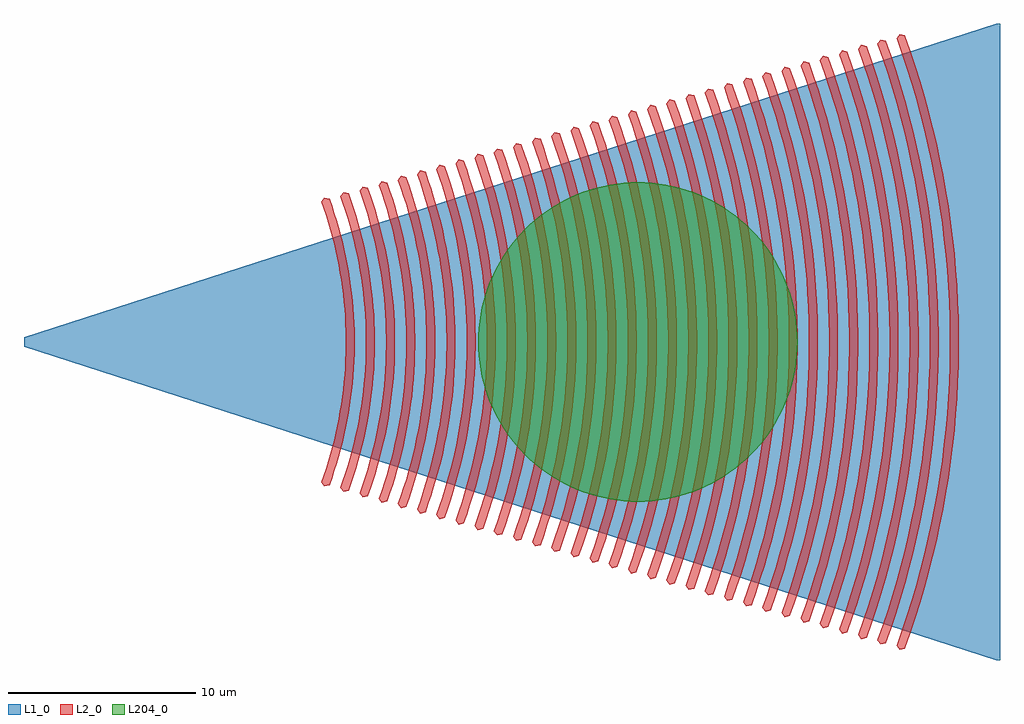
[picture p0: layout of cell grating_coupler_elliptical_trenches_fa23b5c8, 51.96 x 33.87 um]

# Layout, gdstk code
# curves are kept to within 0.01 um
import gdstk
lib = gdstk.Library(unit=1e-6, precision=1e-09)
def P(c, l, *ps):  # polygons
    for p in ps: c.add(gdstk.Polygon(p, *l))
L1_0 = (1, 0)
L2_0 = (2, 0)
L204_0 = (204, 0)

grating_coupler_elliptic = lib.new_cell('grating_coupler_elliptical_trenches_fa23b5c8')
P(grating_coupler_elliptic, L1_0, [(0,-0.25),(0,0.25),(51.76,16.933),(51.96,16.933),(51.96,-16.933),(51.76,-16.933)])
P(grating_coupler_elliptic, L2_0, [(15.995,-7.69),(15.825,-7.464),(16.195,-6.349),(16.505,-5.218),(16.754,-4.074),(16.885,-3.304),(16.989,-2.53),(17.066,-1.754),(17.114,-0.975),(17.135,-0.195),(17.128,0.585),(17.093,1.365),(17.031,2.142),(16.941,2.918),(16.754,4.074),(16.505,5.218),(16.195,6.349),(15.825,7.464),(15.995,7.69),(16.27,7.62),(16.528,6.867),(16.759,6.102),(16.963,5.331),(17.14,4.553),(17.352,3.375),(17.501,2.189),(17.586,0.996),(17.607,0.199),(17.586,-0.996),(17.501,-2.189),(17.352,-3.375),(17.14,-4.553),(16.963,-5.331),(16.759,-6.102),(16.528,-6.867),(16.27,-7.62)],
  [(17.017,-7.981),(16.846,-7.754),(17.11,-6.983),(17.452,-5.814),(17.732,-4.63),(17.947,-3.432),(18.055,-2.629),(18.135,-1.822),(18.185,-1.013),(18.207,-0.203),(18.2,0.608),(18.164,1.418),(18.099,2.226),(17.947,3.432),(17.732,4.63),(17.452,5.814),(17.11,6.983),(16.846,7.754),(17.017,7.981),(17.291,7.91),(17.559,7.128),(17.799,6.335),(18.011,5.534),(18.194,4.726),(18.414,3.504),(18.524,2.683),(18.635,1.447),(18.679,0.207),(18.657,-1.034),(18.568,-2.272),(18.414,-3.504),(18.194,-4.726),(18.011,-5.534),(17.799,-6.335),(17.559,-7.128),(17.291,-7.91)],
  [(18.038,-8.271),(17.867,-8.044),(18.141,-7.244),(18.496,-6.032),(18.786,-4.803),(19.01,-3.561),(19.122,-2.727),(19.204,-1.89),(19.257,-1.051),(19.279,-0.21),(19.272,0.631),(19.234,1.471),(19.167,2.309),(19.01,3.561),(18.786,4.803),(18.496,6.032),(18.141,7.244),(17.867,8.044),(18.038,8.271),(18.312,8.201),(18.59,7.389),(18.839,6.567),(19.058,5.736),(19.248,4.899),(19.408,4.056),(19.591,2.782),(19.705,1.5),(19.751,0.214),(19.728,-1.072),(19.636,-2.355),(19.476,-3.632),(19.248,-4.899),(19.058,-5.736),(18.839,-6.567),(18.59,-7.389),(18.312,-8.201)],
  [(19.059,-8.561),(18.888,-8.334),(19.302,-7.089),(19.54,-6.25),(19.84,-4.976),(20.072,-3.689),(20.188,-2.826),(20.273,-1.958),(20.328,-1.089),(20.351,-0.218),(20.343,0.653),(20.304,1.524),(20.235,2.392),(20.072,3.689),(19.84,4.976),(19.54,6.25),(19.302,7.089),(18.888,8.334),(19.059,8.561),(19.334,8.491),(19.621,7.65),(19.878,6.799),(20.106,5.939),(20.302,5.072),(20.538,3.761),(20.657,2.88),(20.776,1.553),(20.823,0.222),(20.799,-1.11),(20.704,-2.439),(20.538,-3.761),(20.302,-5.072),(20.106,-5.939),(19.878,-6.799),(19.621,-7.65),(19.334,-8.491)],
  [(20.08,-8.851),(19.909,-8.624),(20.337,-7.336),(20.695,-6.03),(20.982,-4.707),(21.134,-3.818),(21.254,-2.924),(21.343,-2.027),(21.399,-1.127),(21.423,-0.225),(21.399,1.127),(21.343,2.027),(21.254,2.924),(21.134,3.818),(20.982,4.707),(20.695,6.03),(20.337,7.336),(19.909,8.624),(20.08,8.851),(20.355,8.781),(20.652,7.912),(20.918,7.031),(21.153,6.142),(21.356,5.246),(21.601,3.889),(21.723,2.979),(21.846,1.606),(21.895,0.23),(21.87,-1.148),(21.772,-2.522),(21.601,-3.889),(21.356,-5.246),(21.153,-6.142),(20.918,-7.031),(20.652,-7.912),(20.355,-8.781)],
  [(21.101,-9.141),(20.93,-8.914),(21.373,-7.583),(21.627,-6.685),(21.948,-5.323),(22.196,-3.946),(22.321,-3.022),(22.412,-2.095),(22.47,-1.165),(22.495,-0.233),(22.487,0.699),(22.412,2.095),(22.321,3.022),(22.196,3.946),(21.948,5.323),(21.627,6.685),(21.373,7.583),(20.93,8.914),(21.101,9.141),(21.376,9.071),(21.683,8.173),(21.958,7.263),(22.201,6.345),(22.41,5.419),(22.663,4.017),(22.84,2.605),(22.942,1.186),(22.967,0.237),(22.942,-1.186),(22.84,-2.605),(22.663,-4.017),(22.503,-4.953),(22.31,-5.883),(22.083,-6.805),(21.824,-7.719),(21.533,-8.624),(21.376,-9.071)],
  [(22.122,-9.431),(21.951,-9.204),(22.408,-7.83),(22.671,-6.902),(23.002,-5.496),(23.259,-4.075),(23.387,-3.121),(23.481,-2.163),(23.541,-1.202),(23.567,-0.241),(23.541,1.202),(23.481,2.163),(23.387,3.121),(23.259,4.075),(23.002,5.496),(22.671,6.902),(22.408,7.83),(21.951,9.204),(22.122,9.431),(22.397,9.361),(22.559,8.9),(22.998,7.496),(23.248,6.548),(23.465,5.592),(23.647,4.629),(23.856,3.175),(23.987,1.712),(24.039,0.245),(24.013,-1.223),(23.908,-2.688),(23.725,-4.146),(23.465,-5.592),(23.248,-6.548),(22.998,-7.496),(22.559,-8.9),(22.397,-9.361)],
  [(23.143,-9.721),(22.973,-9.494),(23.443,-8.076),(23.837,-6.638),(24.057,-5.669),(24.321,-4.203),(24.453,-3.219),(24.55,-2.231),(24.612,-1.24),(24.639,-0.248),(24.63,0.744),(24.586,1.736),(24.453,3.219),(24.321,4.203),(24.057,5.669),(23.837,6.638),(23.443,8.076),(22.973,9.494),(23.143,9.721),(23.418,9.651),(23.585,9.176),(23.895,8.213),(24.171,7.24),(24.519,5.765),(24.787,4.274),(24.976,2.772),(25.057,1.765),(25.111,0.252),(25.102,-0.757),(25.021,-2.269),(24.859,-3.775),(24.617,-5.27),(24.296,-6.751),(24.037,-7.728),(23.744,-8.696),(23.418,-9.651)],
  [(24.164,-10.011),(23.994,-9.784),(24.479,-8.323),(24.885,-6.841),(25.211,-5.34),(25.383,-4.332),(25.519,-3.317),(25.62,-2.299),(25.683,-1.278),(25.711,-0.256),(25.702,0.767),(25.62,2.299),(25.519,3.317),(25.383,4.332),(25.211,5.34),(24.885,6.841),(24.479,8.323),(23.994,9.784),(24.164,10.011),(24.439,9.941),(24.611,9.451),(25.077,7.96),(25.343,6.954),(25.573,5.939),(25.85,4.403),(26.044,2.855),(26.155,1.299),(26.183,0.26),(26.155,-1.299),(26.044,-2.855),(25.85,-4.403),(25.674,-5.428),(25.343,-6.954),(25.077,-7.96),(24.775,-8.957),(24.439,-9.941)],
  [(25.185,-10.301),(25.015,-10.074),(25.357,-9.074),(25.802,-7.555),(26.165,-6.016),(26.445,-4.46),(26.586,-3.416),(26.689,-2.367),(26.755,-1.316),(26.783,-0.263),(26.755,1.316),(26.689,2.367),(26.586,3.416),(26.445,4.46),(26.165,6.016),(25.802,7.555),(25.357,9.074),(25.015,10.074),(25.185,10.301),(25.46,10.231),(25.637,9.727),(26.117,8.192),(26.39,7.156),(26.627,6.112),(26.912,4.531),(27.055,3.47),(27.198,1.872),(27.255,0.268),(27.226,-1.337),(27.198,-1.872),(27.112,-2.938),(26.912,-4.531),(26.731,-5.587),(26.513,-6.635),(26.258,-7.676),(25.806,-9.218),(25.46,-10.231)],
  [(26.206,-10.591),(26.036,-10.364),(26.55,-8.817),(26.846,-7.773),(27.219,-6.189),(27.508,-4.588),(27.652,-3.514),(27.758,-2.436),(27.826,-1.354),(27.855,-0.271),(27.845,0.813),(27.797,1.895),(27.71,2.975),(27.508,4.588),(27.219,6.189),(26.846,7.773),(26.55,8.817),(26.036,10.364),(26.206,10.591),(26.481,10.521),(26.663,10.003),(27.001,8.954),(27.302,7.893),(27.681,6.285),(27.789,5.745),(27.974,4.66),(28.18,3.022),(28.268,1.925),(28.327,0.275),(28.297,-1.375),(28.268,-1.925),(28.18,-3.022),(27.974,-4.66),(27.789,-5.745),(27.564,-6.823),(27.302,-7.893),(26.837,-9.48),(26.481,-10.521)],
  [(27.227,-10.881),(27.057,-10.655),(27.419,-9.596),(27.585,-9.064),(28.027,-7.45),(28.382,-5.816),(28.57,-4.717),(28.718,-3.613),(28.827,-2.504),(28.897,-1.392),(28.927,-0.278),(28.917,0.835),(28.867,1.948),(28.778,3.059),(28.57,4.717),(28.382,5.816),(28.027,7.45),(27.585,9.064),(27.419,9.596),(27.057,10.655),(27.227,10.881),(27.502,10.811),(27.689,10.279),(28.037,9.2),(28.346,8.111),(28.735,6.458),(28.846,5.903),(29.036,4.788),(29.117,4.228),(29.248,3.105),(29.369,1.413),(29.399,0.283),(29.399,-0.283),(29.369,-1.413),(29.248,-3.105),(29.117,-4.228),(28.846,-5.903),(28.615,-7.011),(28.346,-8.111),(27.868,-9.741),(27.502,-10.811)],
  [(28.248,-11.171),(28.078,-10.945),(28.45,-9.858),(28.621,-9.31),(28.933,-8.208),(29.328,-6.535),(29.541,-5.41),(29.632,-4.845),(29.785,-3.711),(29.897,-2.572),(29.968,-1.43),(29.999,-0.286),(29.989,0.858),(29.938,2.001),(29.897,2.572),(29.785,3.711),(29.632,4.845),(29.541,5.41),(29.328,6.535),(28.933,8.208),(28.782,8.76),(28.45,9.858),(28.078,10.945),(28.248,11.171),(28.523,11.101),(28.716,10.554),(28.899,10.002),(29.236,8.889),(29.533,7.765),(29.79,6.632),(29.903,6.062),(30.099,4.917),(30.254,3.765),(30.316,3.188),(30.409,2.031),(30.44,1.451),(30.471,0.29),(30.471,-0.29),(30.44,-1.451),(30.409,-2.031),(30.316,-3.188),(30.254,-3.765),(30.099,-4.917),(29.903,-6.062),(29.79,-6.632),(29.533,-7.765),(29.236,-8.889),(28.899,-10.002),(28.523,-11.101)],
  [(29.269,-11.461),(29.099,-11.235),(29.295,-10.677),(29.656,-9.557),(29.977,-8.425),(30.122,-7.855),(30.382,-6.709),(30.6,-5.554),(30.694,-4.974),(30.851,-3.809),(30.966,-2.64),(31.039,-1.468),(31.071,-0.294),(31.06,0.881),(31.008,2.054),(30.914,3.225),(30.778,4.392),(30.694,4.974),(30.6,5.554),(30.382,6.709),(30.257,7.283),(29.977,8.425),(29.656,9.557),(29.295,10.677),(29.099,11.235),(29.269,11.461),(29.544,11.391),(29.742,10.83),(29.93,10.264),(30.276,9.121),(30.58,7.968),(30.844,6.805),(31.066,5.633),(31.246,4.455),(31.32,3.864),(31.436,2.678),(31.479,2.084),(31.511,1.489),(31.543,0.298),(31.543,-0.298),(31.511,-1.489),(31.479,-2.084),(31.383,-3.271),(31.246,-4.455),(31.066,-5.633),(30.96,-6.22),(30.717,-7.387),(30.433,-8.546),(30.276,-9.121),(29.93,-10.264),(29.544,-11.391)],
  [(30.29,-11.752),(30.12,-11.525),(30.321,-10.953),(30.691,-9.804),(31.02,-8.643),(31.308,-7.471),(31.436,-6.882),(31.553,-6.291),(31.757,-5.102),(31.917,-3.908),(32.035,-2.708),(32.11,-1.506),(32.143,-0.301),(32.132,0.904),(32.078,2.107),(31.982,3.308),(31.917,3.908),(31.757,5.102),(31.553,6.291),(31.436,6.882),(31.308,7.471),(31.02,8.643),(30.691,9.804),(30.321,10.953),(30.12,11.525),(30.29,11.752),(30.565,11.681),(30.768,11.106),(31.143,9.941),(31.477,8.764),(31.628,8.171),(31.898,6.978),(32.017,6.378),(32.223,5.173),(32.386,3.962),(32.506,2.746),(32.549,2.137),(32.582,1.527),(32.615,0.305),(32.604,-0.916),(32.582,-1.527),(32.506,-2.746),(32.386,-3.962),(32.31,-4.569),(32.223,-5.173),(32.017,-6.378),(31.768,-7.576),(31.477,-8.764),(31.315,-9.354),(30.961,-10.525),(30.565,-11.681)],
  [(31.311,-12.042),(31.141,-11.815),(31.347,-11.229),(31.727,-10.051),(31.901,-9.457),(32.217,-8.261),(32.49,-7.055),(32.72,-5.841),(32.819,-5.231),(32.984,-4.006),(33.105,-2.776),(33.182,-1.544),(33.215,-0.309),(33.215,0.309),(33.182,1.544),(33.105,2.776),(32.984,4.006),(32.819,5.231),(32.72,5.841),(32.49,7.055),(32.217,8.261),(31.901,9.457),(31.727,10.051),(31.347,11.229),(31.141,11.815),(31.311,12.042),(31.586,11.972),(31.794,11.382),(32.179,10.188),(32.355,9.586),(32.675,8.374),(32.952,7.151),(33.074,6.537),(33.285,5.302),(33.452,4.061),(33.519,3.438),(33.62,2.19),(33.653,1.565),(33.687,0.313),(33.687,-0.313),(33.653,-1.565),(33.575,-2.814),(33.452,-4.061),(33.374,-4.682),(33.285,-5.302),(33.074,-6.537),(32.819,-7.764),(32.675,-8.374),(32.355,-9.586),(31.992,-10.786),(31.586,-11.972)],
  [(32.333,-12.332),(32.162,-12.105),(32.573,-10.903),(32.762,-10.298),(33.108,-9.078),(33.41,-7.847),(33.668,-6.607),(33.78,-5.984),(33.881,-5.359),(34.05,-4.104),(34.174,-2.845),(34.253,-1.582),(34.287,-0.316),(34.287,0.316),(34.253,1.582),(34.174,2.845),(34.05,4.104),(33.881,5.359),(33.668,6.607),(33.544,7.228),(33.41,7.847),(33.108,9.078),(32.762,10.298),(32.573,10.903),(32.162,12.105),(32.333,12.332),(32.607,12.262),(32.82,11.657),(33.214,10.434),(33.395,9.818),(33.723,8.577),(34.006,7.325),(34.245,6.064),(34.348,5.43),(34.519,4.159),(34.644,2.883),(34.69,2.243),(34.724,1.603),(34.759,0.321),(34.759,-0.321),(34.724,-1.603),(34.69,-2.243),(34.587,-3.521),(34.519,-4.159),(34.348,-5.43),(34.131,-6.695),(34.006,-7.325),(33.723,-8.577),(33.395,-9.818),(33.022,-11.048),(32.607,-12.262)],
  [(33.354,-12.622),(33.183,-12.395),(33.604,-11.164),(33.798,-10.544),(34.152,-9.296),(34.461,-8.036),(34.725,-6.766),(34.84,-6.128),(34.943,-5.488),(35.116,-4.203),(35.243,-2.913),(35.324,-1.619),(35.359,-0.324),(35.359,0.324),(35.324,1.619),(35.243,2.913),(35.116,4.203),(34.943,5.488),(34.84,6.128),(34.598,7.402),(34.461,8.036),(34.152,9.296),(33.798,10.544),(33.604,11.164),(33.183,12.395),(33.354,12.622),(33.628,12.552),(33.846,11.933),(34.249,10.681),(34.608,9.416),(34.921,8.14),(35.061,7.498),(35.305,6.207),(35.41,5.559),(35.585,4.257),(35.714,2.951),(35.76,2.296),(35.819,0.984),(35.831,0.328),(35.819,-0.984),(35.76,-2.296),(35.714,-2.951),(35.585,-4.257),(35.503,-4.909),(35.41,-5.559),(35.188,-6.854),(34.921,-8.14),(34.608,-9.416),(34.434,-10.05),(34.053,-11.309),(33.628,-12.552)],
  [(34.375,-12.912),(34.204,-12.685),(34.635,-11.425),(35.02,-10.154),(35.195,-9.513),(35.512,-8.224),(35.653,-7.575),(35.9,-6.271),(36.1,-4.959),(36.253,-3.642),(36.36,-2.32),(36.419,-0.995),(36.431,-0.332),(36.419,0.995),(36.36,2.32),(36.253,3.642),(36.1,4.959),(36.006,5.616),(35.9,6.271),(35.653,7.575),(35.359,8.87),(35.02,10.154),(34.833,10.791),(34.426,12.056),(34.204,12.685),(34.375,12.912),(34.65,12.842),(34.872,12.209),(35.285,10.928),(35.652,9.634),(35.818,8.982),(36.115,7.671),(36.365,6.351),(36.472,5.687),(36.568,5.022),(36.723,3.688),(36.831,2.349),(36.867,1.678),(36.903,0.336),(36.891,-1.007),(36.831,-2.349),(36.783,-3.019),(36.723,-3.688),(36.568,-5.022),(36.365,-6.351),(36.246,-7.012),(35.972,-8.328),(35.652,-9.634),(35.285,-10.928),(35.084,-11.57),(34.65,-12.842)],
  [(35.396,-13.202),(35.225,-12.975),(35.452,-12.332),(35.869,-11.038),(36.239,-9.731),(36.563,-8.412),(36.707,-7.748),(36.959,-6.414),(37.068,-5.744),(37.249,-4.4),(37.382,-3.049),(37.466,-1.695),(37.502,-0.339),(37.502,0.339),(37.466,1.695),(37.382,3.049),(37.249,4.4),(37.068,5.744),(36.839,7.082),(36.707,7.748),(36.407,9.073),(36.06,10.386),(35.869,11.038),(35.452,12.332),(35.225,12.975),(35.396,13.202),(35.671,13.132),(36.115,11.831),(36.514,10.515),(36.695,9.851),(36.865,9.185),(37.169,7.844),(37.425,6.494),(37.632,5.136),(37.718,4.454),(37.791,3.771),(37.901,2.402),(37.938,1.716),(37.974,0.343),(37.962,-1.03),(37.938,-1.716),(37.901,-2.402),(37.791,-3.771),(37.632,-5.136),(37.425,-6.494),(37.303,-7.17),(37.023,-8.516),(36.865,-9.185),(36.514,-10.515),(36.115,-11.831),(35.671,-13.132)],
  [(36.417,-13.492),(36.246,-13.265),(36.697,-11.948),(36.904,-11.285),(37.283,-9.948),(37.614,-8.6),(37.896,-7.241),(38.019,-6.558),(38.229,-5.186),(38.315,-4.498),(38.451,-3.117),(38.537,-1.733),(38.574,-0.347),(38.562,1.04),(38.5,2.426),(38.451,3.117),(38.315,4.498),(38.13,5.873),(37.896,7.241),(37.761,7.921),(37.614,8.6),(37.283,9.948),(36.904,11.285),(36.697,11.948),(36.246,13.265),(36.417,13.492),(36.692,13.422),(37.146,12.093),(37.356,11.422),(37.739,10.069),(37.913,9.388),(38.223,8.018),(38.36,7.329),(38.597,5.944),(38.784,4.552),(38.859,3.854),(38.921,3.155),(39.009,1.754),(39.046,0.351),(39.034,-1.053),(39.009,-1.754),(38.971,-2.455),(38.859,-3.854),(38.784,-4.552),(38.597,-5.944),(38.36,-7.329),(38.223,-8.018),(37.913,-9.388),(37.553,-10.747),(37.146,-12.093),(36.692,-13.422)],
  [(37.438,-13.782),(37.267,-13.555),(37.728,-12.209),(38.139,-10.85),(38.326,-10.166),(38.665,-8.788),(38.815,-8.095),(39.079,-6.701),(39.293,-5.3),(39.457,-3.892),(39.571,-2.479),(39.609,-1.771),(39.646,-0.354),(39.634,1.063),(39.571,2.479),(39.457,3.892),(39.293,5.3),(39.192,6.001),(39.079,6.701),(38.815,8.095),(38.502,9.478),(38.139,10.85),(37.939,11.532),(37.728,12.209),(37.267,13.555),(37.438,13.782),(37.713,13.712),(38.177,12.354),(38.391,11.668),(38.783,10.287),(39.125,8.892),(39.277,8.191),(39.417,7.487),(39.659,6.073),(39.761,5.363),(39.927,3.938),(40.042,2.508),(40.106,1.075),(40.118,0.359),(40.106,-1.075),(40.042,-2.508),(39.991,-3.223),(39.927,-3.938),(39.761,-5.363),(39.659,-6.073),(39.417,-7.487),(39.125,-8.892),(38.783,-10.287),(38.593,-10.979),(38.177,-12.354),(37.713,-13.712)],
  [(38.459,-14.072),(38.289,-13.845),(38.759,-12.471),(39.179,-11.083),(39.37,-10.384),(39.549,-9.681),(39.869,-8.268),(40.139,-6.845),(40.357,-5.413),(40.525,-3.975),(40.641,-2.532),(40.68,-1.809),(40.718,-0.362),(40.705,1.086),(40.641,2.532),(40.525,3.975),(40.448,4.695),(40.255,6.13),(40.139,6.845),(39.869,8.268),(39.549,9.681),(39.37,10.384),(39.179,11.083),(38.759,12.471),(38.289,13.845),(38.459,14.072),(38.734,14.002),(39.208,12.615),(39.427,11.915),(39.827,10.504),(40.008,9.794),(40.331,8.364),(40.474,7.645),(40.721,6.201),(40.825,5.476),(40.995,4.021),(41.112,2.561),(41.151,1.83),(41.19,0.366),(41.19,-0.366),(41.151,-1.83),(41.06,-3.292),(40.995,-4.021),(40.825,-5.476),(40.721,-6.201),(40.474,-7.645),(40.176,-9.08),(40.008,-9.794),(39.633,-11.211),(39.208,-12.615),(38.734,-14.002)],
  [(39.48,-14.362),(39.31,-14.135),(39.556,-13.435),(40.01,-12.025),(40.414,-10.601),(40.766,-9.164),(41.068,-7.716),(41.199,-6.988),(41.317,-6.258),(41.514,-4.793),(41.659,-3.322),(41.751,-1.847),(41.79,-0.369),(41.777,1.108),(41.751,1.847),(41.659,3.322),(41.514,4.793),(41.317,6.258),(41.068,7.716),(40.766,9.164),(40.597,9.884),(40.414,10.601),(40.01,12.025),(39.556,13.435),(39.31,14.135),(39.48,14.362),(39.755,14.292),(40.239,12.877),(40.673,11.444),(40.87,10.722),(41.055,9.997),(41.386,8.537),(41.664,7.068),(41.783,6.33),(41.89,5.589),(42.063,4.104),(42.129,3.36),(42.222,1.868),(42.262,0.374),(42.249,-1.121),(42.222,-1.868),(42.129,-3.36),(42.063,-4.104),(41.89,-5.589),(41.664,-7.068),(41.531,-7.804),(41.386,-8.537),(41.055,-9.997),(40.673,-11.444),(40.239,-12.877),(39.755,-14.292)],
  [(40.501,-14.652),(40.331,-14.426),(40.582,-13.711),(41.046,-12.272),(41.458,-10.819),(41.644,-10.087),(41.978,-8.614),(42.258,-7.132),(42.486,-5.64),(42.661,-4.141),(42.782,-2.638),(42.849,-1.131),(42.862,-0.377),(42.849,1.131),(42.782,2.638),(42.661,4.141),(42.486,5.64),(42.379,6.387),(42.125,7.874),(41.978,8.614),(41.644,10.087),(41.458,10.819),(41.046,12.272),(40.582,13.711),(40.331,14.426),(40.501,14.652),(40.776,14.582),(41.27,13.138),(41.712,11.676),(41.914,10.939),(42.278,9.456),(42.44,8.711),(42.724,7.211),(42.846,6.458),(43.049,4.946),(43.13,4.188),(43.253,2.667),(43.294,1.906),(43.334,0.381),(43.321,-1.144),(43.294,-1.906),(43.198,-3.428),(43.049,-4.946),(42.954,-5.703),(42.846,-6.458),(42.588,-7.962),(42.278,-9.456),(41.914,-10.939),(41.712,-11.676),(41.27,-13.138),(40.776,-14.582)],
  [(41.522,-14.942),(41.352,-14.716),(41.851,-13.255),(42.081,-12.519),(42.501,-11.036),(42.691,-10.29),(43.032,-8.788),(43.318,-7.275),(43.551,-5.753),(43.729,-4.225),(43.852,-2.691),(43.921,-1.154),(43.934,-0.385),(43.921,1.154),(43.852,2.691),(43.729,4.225),(43.551,5.753),(43.441,6.515),(43.182,8.033),(43.032,8.788),(42.691,10.29),(42.501,11.036),(42.081,12.519),(41.851,13.255),(41.352,14.716),(41.522,14.942),(41.797,14.872),(42.301,13.399),(42.533,12.656),(42.958,11.157),(43.15,10.402),(43.329,9.645),(43.646,8.12),(43.908,6.586),(44.115,5.044),(44.198,4.271),(44.268,3.496),(44.365,1.944),(44.406,0.389),(44.406,-0.389),(44.365,-1.944),(44.268,-3.496),(44.115,-5.044),(44.018,-5.816),(43.784,-7.355),(43.646,-8.12),(43.329,-9.645),(43.15,-10.402),(42.958,-11.157),(42.533,-12.656),(42.301,-13.399),(41.797,-14.872)],
  [(42.543,-15.232),(42.373,-15.006),(42.882,-13.516),(43.117,-12.766),(43.545,-11.254),(43.739,-10.493),(44.086,-8.961),(44.378,-7.418),(44.615,-5.867),(44.797,-4.308),(44.922,-2.744),(44.964,-1.961),(45.006,-0.392),(44.992,1.177),(44.922,2.744),(44.797,4.308),(44.615,5.867),(44.503,6.644),(44.239,8.191),(44.086,8.961),(43.739,10.493),(43.338,12.012),(43.117,12.766),(42.882,13.516),(42.373,15.006),(42.543,15.232),(42.818,15.162),(43.081,14.415),(43.568,12.902),(43.792,12.14),(44.197,10.605),(44.38,9.833),(44.703,8.279),(44.97,6.715),(45.083,5.93),(45.266,4.354),(45.337,3.564),(45.436,1.982),(45.478,0.396),(45.464,-1.189),(45.436,-1.982),(45.337,-3.564),(45.182,-5.143),(45.083,-5.93),(44.97,-6.715),(44.703,-8.279),(44.38,-9.833),(44.197,-10.605),(43.792,-12.14),(43.568,-12.902),(43.081,-14.415),(42.818,-15.162)],
  [(43.564,-15.523),(43.394,-15.296),(43.661,-14.538),(44.152,-13.013),(44.589,-11.471),(44.97,-9.916),(45.14,-9.134),(45.438,-7.562),(45.566,-6.772),(45.779,-5.187),(45.936,-3.595),(46.035,-1.998),(46.078,-0.4),(46.064,1.199),(45.993,2.797),(45.936,3.595),(45.779,5.187),(45.566,6.772),(45.438,7.562),(45.14,9.134),(44.97,9.916),(44.589,11.471),(44.152,13.013),(43.661,14.538),(43.394,15.296),(43.564,15.523),(43.839,15.452),(44.107,14.69),(44.604,13.149),(45.045,11.592),(45.245,10.808),(45.431,10.021),(45.76,8.437),(45.903,7.641),(46.147,6.043),(46.334,4.437),(46.464,2.826),(46.536,1.212),(46.55,0.404),(46.536,-1.212),(46.464,-2.826),(46.406,-3.633),(46.248,-5.241),(46.147,-6.043),(46.032,-6.843),(45.76,-8.437),(45.431,-10.021),(45.245,-10.808),(45.045,-11.592),(44.604,-13.149),(44.107,-14.69),(43.839,-15.452)],
  [(44.585,-15.813),(44.415,-15.586),(44.944,-14.039),(45.417,-12.476),(45.632,-11.689),(46.021,-10.105),(46.194,-9.308),(46.498,-7.705),(46.744,-6.094),(46.932,-4.475),(47.005,-3.663),(47.107,-2.036),(47.15,-0.407),(47.136,1.222),(47.107,2.036),(47.005,3.663),(46.845,5.285),(46.628,6.9),(46.353,8.508),(46.021,10.105),(45.834,10.898),(45.417,12.476),(45.187,13.259),(44.944,14.039),(44.415,15.586),(44.585,15.813),(44.86,15.743),(45.393,14.183),(45.639,13.396),(46.089,11.81),(46.292,11.011),(46.482,10.209),(46.817,8.596),(47.095,6.972),(47.212,6.157),(47.402,4.521),(47.534,2.879),(47.578,2.057),(47.622,0.412),(47.622,-0.412),(47.578,-2.057),(47.534,-2.879),(47.402,-4.521),(47.212,-6.157),(47.095,-6.972),(46.817,-8.596),(46.482,-10.209),(46.292,-11.011),(46.089,-11.81),(45.639,-13.396),(45.393,-14.183),(44.86,-15.743)],
  [(45.606,-16.103),(45.436,-15.876),(45.975,-14.3),(46.457,-12.708),(46.676,-11.907),(47.072,-10.293),(47.248,-9.481),(47.558,-7.849),(47.69,-7.029),(47.912,-5.383),(48.074,-3.731),(48.178,-2.074),(48.222,-0.415),(48.222,0.415),(48.178,2.074),(48.074,3.731),(47.912,5.383),(47.69,7.029),(47.558,7.849),(47.248,9.481),(47.072,10.293),(46.676,11.907),(46.457,12.708),(45.975,14.3),(45.436,15.876),(45.606,16.103),(45.881,16.033),(46.424,14.445),(46.675,13.643),(47.133,12.027),(47.34,11.214),(47.711,9.577),(47.874,8.754),(48.157,7.1),(48.276,6.27),(48.47,4.604),(48.545,3.769),(48.649,2.095),(48.694,0.419),(48.679,-1.257),(48.649,-2.095),(48.545,-3.769),(48.47,-4.604),(48.276,-6.27),(48.157,-7.1),(47.874,-8.754),(47.711,-9.577),(47.34,-11.214),(47.133,-12.027),(46.675,-13.643),(46.424,-14.445),(45.881,-16.033)],
  [(46.627,-16.393),(46.457,-16.166),(47.006,-14.561),(47.496,-12.941),(47.72,-12.124),(47.929,-11.304),(48.303,-9.654),(48.617,-7.992),(48.873,-6.32),(49.068,-4.641),(49.204,-2.956),(49.279,-1.268),(49.294,-0.423),(49.279,1.268),(49.204,2.956),(49.068,4.641),(48.978,5.482),(48.752,7.157),(48.617,7.992),(48.303,9.654),(47.929,11.304),(47.72,12.124),(47.258,13.753),(47.006,14.561),(46.457,16.166),(46.627,16.393),(46.902,16.323),(47.186,15.518),(47.71,13.89),(48.176,12.245),(48.387,11.417),(48.765,9.75),(48.931,8.912),(49.219,7.229),(49.447,5.536),(49.538,4.687),(49.675,2.986),(49.751,1.28),(49.766,0.427),(49.751,-1.28),(49.675,-2.986),(49.614,-3.837),(49.447,-5.536),(49.34,-6.383),(49.083,-8.072),(48.931,-8.912),(48.765,-9.75),(48.387,-11.417),(48.176,-12.245),(47.71,-13.89),(47.186,-15.518),(46.902,-16.323)])
P(grating_coupler_elliptic, L204_0, [(41.18,0),(41.148,0.741),(41.051,1.476),(40.979,1.84),(40.787,2.556),(40.533,3.253),(40.22,3.925),(39.849,4.567),(39.424,5.174),(38.947,5.743),(38.69,6.01),(38.423,6.267),(37.854,6.744),(37.247,7.169),(36.605,7.54),(35.933,7.853),(35.236,8.107),(34.52,8.299),(34.156,8.371),(33.421,8.468),(32.68,8.5),(31.939,8.468),(31.204,8.371),(30.84,8.299),(30.124,8.107),(29.427,7.853),(28.755,7.54),(28.113,7.169),(27.506,6.744),(26.937,6.267),(26.67,6.01),(26.413,5.743),(25.936,5.174),(25.511,4.567),(25.14,3.925),(24.827,3.253),(24.573,2.556),(24.381,1.84),(24.309,1.476),(24.212,0.741),(24.18,0),(24.212,-0.741),(24.309,-1.476),(24.381,-1.84),(24.573,-2.556),(24.827,-3.253),(25.14,-3.925),(25.511,-4.567),(25.936,-5.174),(26.413,-5.743),(26.67,-6.01),(26.937,-6.267),(27.506,-6.744),(28.113,-7.169),(28.755,-7.54),(29.427,-7.853),(30.124,-8.107),(30.84,-8.299),(31.204,-8.371),(31.939,-8.468),(32.68,-8.5),(33.421,-8.468),(34.156,-8.371),(34.52,-8.299),(35.236,-8.107),(35.933,-7.853),(36.605,-7.54),(37.247,-7.169),(37.854,-6.744),(38.423,-6.267),(38.69,-6.01),(38.947,-5.743),(39.424,-5.174),(39.849,-4.567),(40.22,-3.925),(40.533,-3.253),(40.787,-2.556),(40.979,-1.84),(41.051,-1.476),(41.148,-0.741)])

lib.write_gds('grating_coupler_elliptical_trenches_fa23b5c8.gds')
